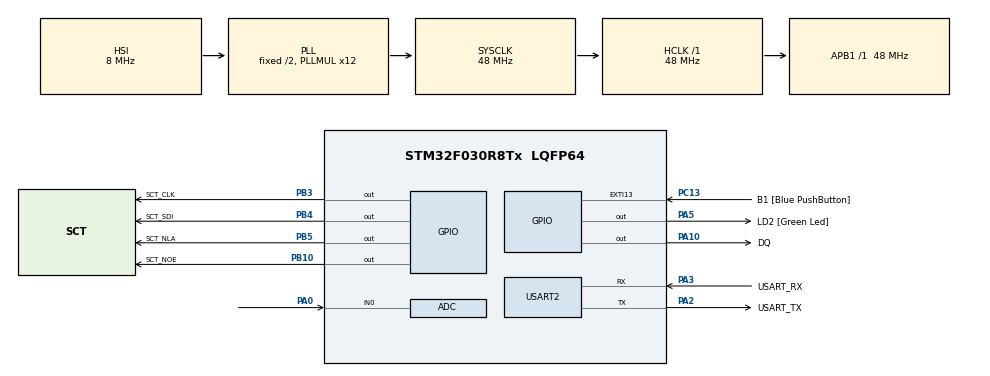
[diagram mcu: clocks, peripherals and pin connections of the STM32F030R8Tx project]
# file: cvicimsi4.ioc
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ADC.ContinuousConvMode=ENABLE
ADC.Overrun=ADC_OVR_DATA_OVERWRITTEN
ADC.Resolution=ADC_RESOLUTION_10B
ADC.SamplingTime=ADC_SAMPLETIME_239CYCLES_5
Mcu.Family=STM32F0
Mcu.Name=STM32F030R8Tx
Mcu.Package=LQFP64
NVIC.ADC1_IRQn=true\:0\:0\:false\:false\:true\:true\:true\:true
PA0.Mode=IN0
PA0.Signal=ADC_IN0
PA10.GPIO_Label=DQ
PA10.GPIO_ModeDefaultOutputPP=GPIO_MODE_OUTPUT_OD
PA10.GPIO_PuPd=GPIO_NOPULL
PA10.Signal=GPIO_Output
PA13.GPIO_Label=TMS
PA13.Mode=Serial_Wire
PA13.Signal=SYS_SWDIO
PA14.GPIO_Label=TCK
PA14.Mode=Serial_Wire
PA14.Signal=SYS_SWCLK
PA2.GPIO_Label=USART_TX
PA2.GPIO_Mode=GPIO_MODE_AF_PP
PA2.GPIO_PuPd=GPIO_NOPULL
PA2.GPIO_Speed=GPIO_SPEED_FREQ_LOW
PA2.Mode=Asynchronous
PA2.Signal=USART2_TX
PA3.GPIO_Label=USART_RX
PA3.GPIO_Mode=GPIO_MODE_AF_PP
PA3.GPIO_PuPd=GPIO_NOPULL
PA3.GPIO_Speed=GPIO_SPEED_FREQ_LOW
PA3.Mode=Asynchronous
PA3.Signal=USART2_RX
PA5.GPIO_Label=LD2 [Green Led]
PA5.GPIO_Mode=GPIO_MODE_OUTPUT_PP
PA5.GPIO_PuPd=GPIO_NOPULL
PA5.GPIO_Speed=GPIO_SPEED_FREQ_LOW
PA5.Signal=GPIO_Output
PB10.GPIO_Label=SCT_NOE
PB10.Signal=GPIO_Output
PB3.GPIO_Label=SCT_CLK
PB3.Signal=GPIO_Output
PB4.GPIO_Label=SCT_SDI
PB4.Signal=GPIO_Output
PB5.GPIO_Label=SCT_NLA
PB5.Signal=GPIO_Output
PC13.GPIO_Label=B1 [Blue PushButton]
PC13.GPIO_ModeDefaultEXTI=GPIO_MODE_IT_FALLING
PC13.Signal=GPXTI13
PC14-OSC32_IN.Mode=LSE-External-Oscillator
PC14-OSC32_IN.Signal=RCC_OSC32_IN
PC15-OSC32_OUT.Mode=LSE-External-Oscillator
PC15-OSC32_OUT.Signal=RCC_OSC32_OUT
PF0-OSC_IN.Mode=HSE-External-Clock-Source
PF0-OSC_IN.Signal=RCC_OSC_IN
PF1-OSC_OUT.Signal=RCC_OSC_OUT
ProjectManager.HeapSize=0x200
ProjectManager.StackSize=0x400
ProjectManager.TargetToolchain=STM32CubeIDE
RCC.AHBFreq_Value=48000000
RCC.APB1Freq_Value=48000000
RCC.APB1TimFreq_Value=48000000
RCC.HCLKFreq_Value=48000000
RCC.PLLMUL=RCC_PLL_MUL12
RCC.SYSCLKFreq_VALUE=48000000
RCC.SYSCLKSource=RCC_SYSCLKSOURCE_PLLCLK
USART2.VirtualMode-Asynchronous=VM_ASYNC
board=NUCLEO-F030R8

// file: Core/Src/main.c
/* USER CODE BEGIN Header */
/**
 ******************************************************************************
 * @file           : main.c
 * @brief          : Main program body
 ******************************************************************************
 * @attention
 *
 * Copyright (c) 2024 STMicroelectronics.
 * All rights reserved.
 *
 * This software is licensed under terms that can be found in the LICENSE file
 * in the root directory of this software component.
 * If no LICENSE file comes with this software, it is provided AS-IS.
 *
 ******************************************************************************
 */
/* USER CODE END Header */
#include "main.h"

/* USER CODE BEGIN Includes */
#include "sct.h"

/* USER CODE END Includes */

ADC_HandleTypeDef hadc;

UART_HandleTypeDef huart2;

void SystemClock_Config(void);
static void MX_GPIO_Init(void);
static void MX_USART2_UART_Init(void);
static void MX_ADC_Init(void);
/* USER CODE BEGIN PFP */
static volatile uint32_t raw_pot;
void HAL_ADC_ConvCpltCallback(ADC_HandleTypeDef* hadc)
{
	raw_pot = HAL_ADC_GetValue(hadc);
}

/* USER CODE END PFP */

int main(void)
{

  /* MCU Configuration--------------------------------------------------------*/

  /* Reset of all peripherals, Initializes the Flash interface and the Systick. */
  HAL_Init();

  /* Configure the system clock */
  SystemClock_Config();

  /* Initialize all configured peripherals */
  MX_GPIO_Init();
  MX_USART2_UART_Init();
  MX_ADC_Init();
  /* USER CODE BEGIN 2 */

	sct_init();

	HAL_ADCEx_Calibration_Start(&hadc);
	HAL_ADC_Start_IT(&hadc);

  /* USER CODE END 2 */

  /* Infinite loop */
  /* USER CODE BEGIN WHILE */

	uint32_t delay_pot = ((raw_pot * 481) / 1024)+20;
	uint16_t led_index = 0b1;

	// first led - start
	// o--------
	sct_universal_baragraph(led_index);
	delay_pot = ((raw_pot * 481) / 1024)+20;
	HAL_Delay(delay_pot);

	while (1)
	{

		for (uint8_t i = 0; i < 18; ++i) {

			if (i == 0 || i==1) {
				//apper leds from left
				// oo-------
				// ooo------
				led_index = (led_index<<1) | 1;

			}else if(i>8){
				// from right to left
				// --------o
				// -------oo
				// ------ooo
				// -----ooo-
				//...
				// ooo------
				// oo-------
				// o--------
				led_index >>= 1;

			}else{
				// from left to right
				// -ooo-----
				// --ooo----
				// ...
				// --------o
				led_index <<= 1;
			}
			sct_baragraph_value(led_index, delay_pot, 0);

			delay_pot = ((raw_pot * 481) / 1024)+20;
			HAL_Delay(delay_pot);

		}

    /* USER CODE END WHILE */

	}
}

void SystemClock_Config(void)
{
  RCC_OscInitTypeDef RCC_OscInitStruct = {0};
  RCC_ClkInitTypeDef RCC_ClkInitStruct = {0};

  /** Initializes the RCC Oscillators according to the specified parameters
  * in the RCC_OscInitTypeDef structure.
  */
  RCC_OscInitStruct.OscillatorType = RCC_OSCILLATORTYPE_HSI|RCC_OSCILLATORTYPE_HSI14;
  RCC_OscInitStruct.HSIState = RCC_HSI_ON;
  RCC_OscInitStruct.HSI14State = RCC_HSI14_ON;
  RCC_OscInitStruct.HSICalibrationValue = RCC_HSICALIBRATION_DEFAULT;
  RCC_OscInitStruct.HSI14CalibrationValue = 16;
  RCC_OscInitStruct.PLL.PLLState = RCC_PLL_ON;
  RCC_OscInitStruct.PLL.PLLSource = RCC_PLLSOURCE_HSI;
  RCC_OscInitStruct.PLL.PLLMUL = RCC_PLL_MUL12;
  RCC_OscInitStruct.PLL.PREDIV = RCC_PREDIV_DIV1;
  if (HAL_RCC_OscConfig(&RCC_OscInitStruct) != HAL_OK)
  {
    Error_Handler();
  }

  /** Initializes the CPU, AHB and APB buses clocks
  */
  RCC_ClkInitStruct.ClockType = RCC_CLOCKTYPE_HCLK|RCC_CLOCKTYPE_SYSCLK
                              |RCC_CLOCKTYPE_PCLK1;
  RCC_ClkInitStruct.SYSCLKSource = RCC_SYSCLKSOURCE_PLLCLK;
  RCC_ClkInitStruct.AHBCLKDivider = RCC_SYSCLK_DIV1;
  RCC_ClkInitStruct.APB1CLKDivider = RCC_HCLK_DIV1;

  if (HAL_RCC_ClockConfig(&RCC_ClkInitStruct, FLASH_LATENCY_1) != HAL_OK)
  {
    Error_Handler();
  }
}

static void MX_ADC_Init(void)
{

  ADC_ChannelConfTypeDef sConfig = {0};

  /** Configure the global features of the ADC (Clock, Resolution, Data Alignment and number of conversion)
  */
  hadc.Instance = ADC1;
  hadc.Init.ClockPrescaler = ADC_CLOCK_ASYNC_DIV1;
  hadc.Init.Resolution = ADC_RESOLUTION_10B;
  hadc.Init.DataAlign = ADC_DATAALIGN_RIGHT;
  hadc.Init.ScanConvMode = ADC_SCAN_DIRECTION_FORWARD;
  hadc.Init.EOCSelection = ADC_EOC_SINGLE_CONV;
  hadc.Init.LowPowerAutoWait = DISABLE;
  hadc.Init.LowPowerAutoPowerOff = DISABLE;
  hadc.Init.ContinuousConvMode = ENABLE;
  hadc.Init.DiscontinuousConvMode = DISABLE;
  hadc.Init.ExternalTrigConv = ADC_SOFTWARE_START;
  hadc.Init.ExternalTrigConvEdge = ADC_EXTERNALTRIGCONVEDGE_NONE;
  hadc.Init.DMAContinuousRequests = DISABLE;
  hadc.Init.Overrun = ADC_OVR_DATA_OVERWRITTEN;
  if (HAL_ADC_Init(&hadc) != HAL_OK)
  {
    Error_Handler();
  }

  /** Configure for the selected ADC regular channel to be converted.
  */
  sConfig.Channel = ADC_CHANNEL_0;
  sConfig.Rank = ADC_RANK_CHANNEL_NUMBER;
  sConfig.SamplingTime = ADC_SAMPLETIME_239CYCLES_5;
  if (HAL_ADC_ConfigChannel(&hadc, &sConfig) != HAL_OK)
  {
    Error_Handler();
  }

}

static void MX_USART2_UART_Init(void)
{

  huart2.Instance = USART2;
  huart2.Init.BaudRate = 38400;
  huart2.Init.WordLength = UART_WORDLENGTH_8B;
  huart2.Init.StopBits = UART_STOPBITS_1;
  huart2.Init.Parity = UART_PARITY_NONE;
  huart2.Init.Mode = UART_MODE_TX_RX;
  huart2.Init.HwFlowCtl = UART_HWCONTROL_NONE;
  huart2.Init.OverSampling = UART_OVERSAMPLING_16;
  huart2.Init.OneBitSampling = UART_ONE_BIT_SAMPLE_DISABLE;
  huart2.AdvancedInit.AdvFeatureInit = UART_ADVFEATURE_NO_INIT;
  if (HAL_UART_Init(&huart2) != HAL_OK)
  {
    Error_Handler();
  }

}

static void MX_GPIO_Init(void)
{
  GPIO_InitTypeDef GPIO_InitStruct = {0};

  /* GPIO Ports Clock Enable */
  __HAL_RCC_GPIOC_CLK_ENABLE();
  __HAL_RCC_GPIOF_CLK_ENABLE();
  __HAL_RCC_GPIOA_CLK_ENABLE();
  __HAL_RCC_GPIOB_CLK_ENABLE();

  /*Configure GPIO pin Output Level */
  HAL_GPIO_WritePin(GPIOA, LD2_Pin|DQ_Pin, GPIO_PIN_RESET);

  /*Configure GPIO pin Output Level */
  HAL_GPIO_WritePin(GPIOB, SCT_NOE_Pin|SCT_CLK_Pin|SCT_SDI_Pin|SCT_NLA_Pin, GPIO_PIN_RESET);

  /*Configure GPIO pin : B1_Pin */
  GPIO_InitStruct.Pin = B1_Pin;
  GPIO_InitStruct.Mode = GPIO_MODE_IT_FALLING;
  GPIO_InitStruct.Pull = GPIO_NOPULL;
  HAL_GPIO_Init(B1_GPIO_Port, &GPIO_InitStruct);

  /*Configure GPIO pin : LD2_Pin */
  GPIO_InitStruct.Pin = LD2_Pin;
  GPIO_InitStruct.Mode = GPIO_MODE_OUTPUT_PP;
  GPIO_InitStruct.Pull = GPIO_NOPULL;
  GPIO_InitStruct.Speed = GPIO_SPEED_FREQ_LOW;
  HAL_GPIO_Init(LD2_GPIO_Port, &GPIO_InitStruct);

  /*Configure GPIO pins : SCT_NOE_Pin SCT_CLK_Pin SCT_SDI_Pin SCT_NLA_Pin */
  GPIO_InitStruct.Pin = SCT_NOE_Pin|SCT_CLK_Pin|SCT_SDI_Pin|SCT_NLA_Pin;
  GPIO_InitStruct.Mode = GPIO_MODE_OUTPUT_PP;
  GPIO_InitStruct.Pull = GPIO_NOPULL;
  GPIO_InitStruct.Speed = GPIO_SPEED_FREQ_LOW;
  HAL_GPIO_Init(GPIOB, &GPIO_InitStruct);

  /*Configure GPIO pin : DQ_Pin */
  GPIO_InitStruct.Pin = DQ_Pin;
  GPIO_InitStruct.Mode = GPIO_MODE_OUTPUT_OD;
  GPIO_InitStruct.Pull = GPIO_NOPULL;
  GPIO_InitStruct.Speed = GPIO_SPEED_FREQ_LOW;
  HAL_GPIO_Init(DQ_GPIO_Port, &GPIO_InitStruct);

}

void Error_Handler(void)
{
	__disable_irq();
	while (1)
	{
	}
}
